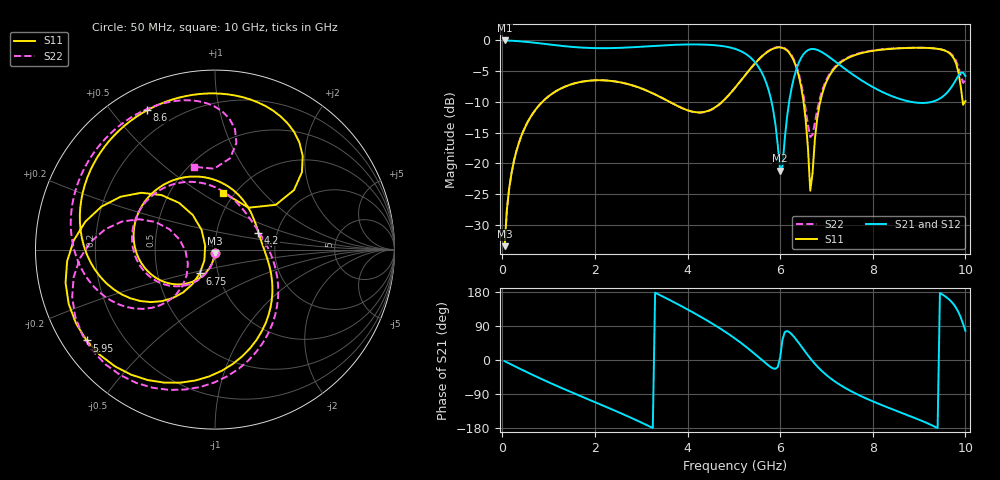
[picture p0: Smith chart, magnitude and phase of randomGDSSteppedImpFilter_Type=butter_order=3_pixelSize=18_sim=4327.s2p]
! freq	dB(S11)	phase(S11)	dB(S12)	phase(S12)
!  dB(S21)	phase(S21)	dB(S22)	phase(S22)
!S-par simulation data
#  GHz  S  DB  R 50
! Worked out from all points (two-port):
!   200 points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, 50 MHz to 10 GHz, reference 50 ohm
!   highest |S21| = -0.01 dB at 50 MHz (marker M1); lowest = -21.2 dB at 6 GHz (marker M2)
!   |S21| within 3 dB of the highest: start of sweep to 5.391 GHz; 6.442 GHz to 7.115 GHz (672.8 MHz wide, 9.93 % of centre)
!   lowest |S11| = -33.5 dB at 50 MHz (marker M3), VSWR 1.04, Z = 49.8 - j2.11 ohm
!   |S11| at or under -10 dB: start of sweep to 866 MHz; 3.611 GHz to 4.745 GHz (1.134 GHz wide, 27.2 % of centre); 6.505 GHz to 6.866 GHz (360.6 MHz wide, 5.39 % of centre) (the widest 3 of 4)
!   |S22| runs from -33.5 to -1.1 dB; largest |S21 - S12| = 0
!   S11 on the Smith chart (normalised r, x): 50 MHz: 1.00, -0.04; 4.2 GHz: 1.60, +0.32; 5.95 GHz: 0.07, -0.32; 6.75 GHz: 0.82, -0.22; 8.6 GHz: 0.10, +0.62; 10 GHz: 0.89, +0.63
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0.05  -33.49 -93.0  -0.01 -3.1  -0.01 -3.1  -33.49 -92.8
0.2  -21.56 -103.0  -0.05 -12.3  -0.05 -12.3  -21.56 -102.2
0.5  -14.00 -121.7  -0.22 -30.2  -0.22 -30.2  -14.00 -119.8
1.75  -6.68 167.8  -1.18 -98.3  -1.18 -98.3  -6.68 174.7
3.4  -9.17 73.5  -0.83 171.6  -0.83 171.6  -9.17 90.0
4.2  -11.70 21.3  -0.66 119.9  -0.66 119.9  -11.73 38.8
5.05  -7.48 -41.5  -1.44 54.5  -1.44 54.5  -7.51 -33.2
5.45  -3.81 -81.2  -3.48 16.2  -3.48 16.2  -3.79 -73.5
5.95  -1.15 -144.7  -17.17 -18.1  -17.17 -18.1  -1.07 -133.7
6  -1.14 -152.1  -21.21 6.8  -21.21 6.8  -1.06 -140.5
6.35  -4.40 150.7  -4.70 53.5  -4.70 53.5  -4.12 169.5
6.55  -12.81 122.7  -1.86 20.3  -1.86 20.3  -11.13 155.9
6.65  -24.45 156.7  -1.43 4.4  -1.43 4.4  -15.73 -176.0
6.7  -21.57 -135.0  -1.39 -3.0  -1.39 -3.0  -15.35 -152.1
6.75  -16.06 -122.5  -1.43 -10.1  -1.43 -10.1  -13.37 -137.5
7  -6.71 -140.7  -2.38 -39.8  -2.38 -39.8  -6.37 -137.5
7.5  -2.73 178.6  -5.19 -80.3  -5.19 -80.3  -2.63 -169.1
8.35  -1.39 128.8  -8.88 -126.6  -8.88 -126.6  -1.35 149.4
8.6  -1.27 116.0  -9.57 -138.5  -9.57 -138.5  -1.25 138.7
9.3  -1.28 79.6  -9.95 -173.6  -9.95 -173.6  -1.28 108.7
9.75  -2.92 46.9  -7.00 146.3  -7.00 146.3  -2.68 83.7
10  -9.88 81.7  -5.79 77.3  -5.79 77.3  -6.44 104.5
